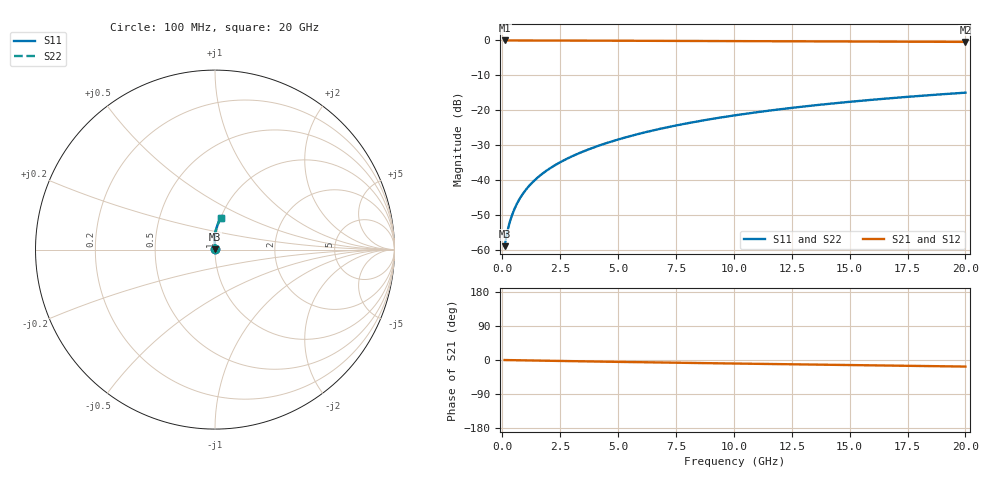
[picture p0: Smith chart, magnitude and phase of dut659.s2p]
! Touchstone file exported from HFSS 2024.1.0
!  File:  C:/UserFiles/LocalFiles/RDL_TSV_Batchsim/temp_RDL_bottom_659_1779785667.aedt
!  Generated:  04:57:07 PM May 26, 2026
!  Design:  RDL_bottom
!  Project:  temp_RDL_bottom_659_1779785667
!  Setup:  Setup1
!  Solution:  Sweep
! Variables:
!  dtsv = 10.80580581um
!  hbump = 3um
!  htsv = 79.93um
!  ldown = 215.05um
!  lrdl = 100um
!  p = 40
!  p1 = 57.55um
!  rhole = 1um
!  t = 450um
!  tdown = 4.34um
!  trdl = 3.915915916um
!  wdown = 27.95um
!  wrdl = 20um
# GHz S MA R 50.000000
! Terminal data exported
! Port[1] = RDL1_T1
! Port[2] = RDL1_T2
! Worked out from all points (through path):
!   200 points, 100 MHz to 20 GHz, reference 50 ohm
!   highest |S21| = -0.01 dB at 100 MHz (marker M1); lowest = -0.4 dB at 20 GHz (marker M2)
!   group delay of S21, straight-line fit = 2.37 ps
!   lowest |S11| = -58.9 dB at 100 MHz (marker M3), VSWR 1.00, Z = 50.1 + j0.0784 ohm
!   |S11| at or under -10 dB: start of sweep to end of sweep
!   |S22| runs from -58.9 to -14.9 dB; largest |S21 - S12| = 6.4e-15
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0.1  0.001141 43.3  0.9992 -0.1  0.9992 -0.1  0.001141 43.3
! Gamma 0 0 0 0
! Port Impedance 50 0 50 0
0.2  0.001737 59.6  0.9991 -0.2  0.9991 -0.2  0.001737 59.6
0.3  0.002373 67.8  0.999 -0.3  0.999 -0.3  0.002373 67.8
0.4  0.003034 72.7  0.999 -0.4  0.999 -0.4  0.003033 72.7
0.5  0.003709 76.0  0.9989 -0.5  0.9989 -0.5  0.003709 76.0
0.6  0.004395 78.4  0.9988 -0.6  0.9988 -0.6  0.004395 78.4
0.8  0.005784 81.5  0.9987 -0.8  0.9987 -0.8  0.005784 81.5
1.1  0.007897 84.4  0.9984 -1.1  0.9984 -1.1  0.007897 84.4
1.5  0.01075 86.6  0.998 -1.6  0.998 -1.6  0.01075 86.6
1.8  0.01292 87.8  0.9976 -1.9  0.9976 -1.9  0.01292 87.8
2.1  0.01512 88.7  0.9971 -2.2  0.9971 -2.2  0.01512 88.7
2.7  0.01961 90.1  0.996 -2.8  0.996 -2.8  0.01961 90.1
3.5  0.02584 91.3  0.9943 -3.6  0.9943 -3.6  0.02584 91.3
4.2  0.03151 92.0  0.9925 -4.2  0.9925 -4.2  0.03151 92.0
5  0.03825 92.4  0.9904 -5.0  0.9904 -5.0  0.03825 92.4
6.8  0.05426 92.2  0.9855 -6.6  0.9855 -6.6  0.05426 92.2
8.4  0.06917 91.2  0.9811 -8.0  0.9811 -8.0  0.06917 91.2
10.1  0.08539 89.8  0.9767 -9.4  0.9767 -9.4  0.08539 89.8
11.7  0.1008 88.2  0.9727 -10.7  0.9727 -10.7  0.1008 88.2
13.4  0.1172 86.4  0.9686 -12.1  0.9686 -12.1  0.1172 86.4
16.7  0.1485 83.0  0.9609 -14.7  0.9609 -14.7  0.1485 83.0
20  0.1791 79.6  0.9532 -17.3  0.9532 -17.3  0.1791 79.6
